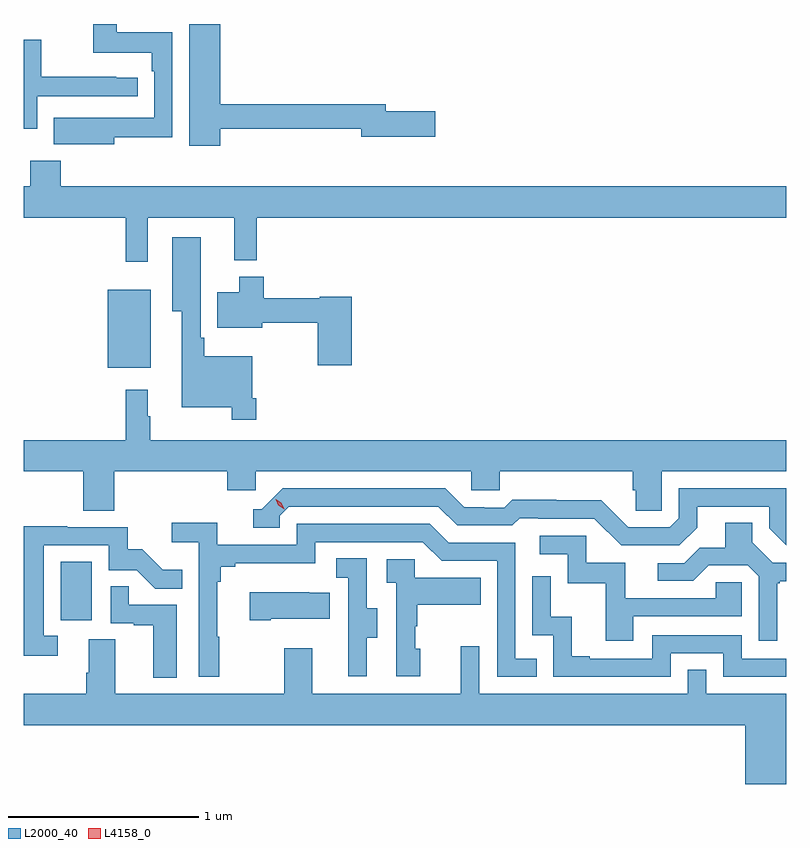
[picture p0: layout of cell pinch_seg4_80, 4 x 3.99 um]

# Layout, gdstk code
import gdstk
lib = gdstk.Library(unit=1e-6, precision=1e-09)
def R(c, l, rs):  # rectangles x0, y0, x1, y1
    for r in rs: c.add(gdstk.rectangle(r[:2], r[2:], *l))
def P(c, l, *ps):  # polygons
    for p in ps: c.add(gdstk.Polygon(p, *l))
L2000_40 = (2000, 40)
L4158_0 = (4158, 0)

pinch_seg4_80 = lib.new_cell('pinch_seg4_80')
R(pinch_seg4_80, L2000_40, [(1077.074,814.686,1077.238,814.993), (1077.32,816.011,1077.547,816.421)])
P(pinch_seg4_80, L2000_40, [(1077.91,817.266),(1078.652,817.266),(1078.652,817.223),(1079.041,817.223),(1079.041,817.358),(1078.78,817.358),(1078.78,817.394),(1077.91,817.394),(1077.91,817.816),(1077.749,817.816),(1077.749,817.176),(1077.91,817.176)],
  [(1077.355,817.222),(1077.66,817.222),(1077.66,817.774),(1077.367,817.774),(1077.367,817.816),(1077.246,817.816),(1077.246,817.664),(1077.551,817.664),(1077.551,817.568),(1077.564,817.568),(1077.564,817.323),(1077.251,817.323),(1077.251,817.324),(1077.037,817.324),(1077.037,817.184),(1077.355,817.184)],
  [(1076.952,817.437),(1077.478,817.437),(1077.478,817.533),(1077.365,817.533),(1077.365,817.538),(1076.972,817.538),(1076.972,817.734),(1076.881,817.734),(1076.881,817.265),(1076.952,817.265)],
  [(1077.074,817.099),(1076.914,817.099),(1076.914,816.964),(1076.881,816.964),(1076.881,816.8),(1077.415,816.8),(1077.415,816.567),(1077.531,816.567),(1077.531,816.8),(1077.986,816.8),(1077.986,816.575),(1078.103,816.575),(1078.103,816.8),(1080.881,816.8),(1080.881,816.964),(1077.074,816.964)],
  [(1078.1,815.851),(1078.08,815.851),(1078.08,816.073),(1077.827,816.073),(1077.827,816.169),(1077.808,816.169),(1077.808,816.697),(1077.659,816.697),(1077.659,816.308),(1077.71,816.308),(1077.71,815.804),(1077.972,815.804),(1077.972,815.739),(1078.1,815.739)],
  [(1078.601,816.384),(1078.434,816.384),(1078.434,816.376),(1078.14,816.376),(1078.14,816.49),(1078.01,816.49),(1078.01,816.409),(1077.896,816.409),(1077.896,816.221),(1078.132,816.221),(1078.132,816.247),(1078.423,816.247),(1078.423,816.024),(1078.601,816.024)],
  [(1077.356,815.468),(1077.947,815.468),(1077.947,815.37),(1078.098,815.37),(1078.098,815.468),(1079.229,815.468),(1079.229,815.37),(1079.379,815.37),(1079.379,815.468),(1080.077,815.468),(1080.077,815.37),(1080.091,815.37),(1080.091,815.26),(1080.228,815.26),(1080.228,815.468),(1080.881,815.468),(1080.881,815.632),(1077.544,815.632),(1077.544,815.756),(1077.532,815.756),(1077.532,815.896),(1077.415,815.896),(1077.415,815.632),(1076.881,815.632),(1076.881,815.468),(1077.191,815.468),(1077.191,815.26),(1077.356,815.26)],
  [(1080.415,815.173),(1080.415,815.283),(1080.792,815.283),(1080.792,815.169),(1080.881,815.08),(1080.881,815.379),(1080.318,815.379),(1080.318,815.223),(1080.27,815.175),(1080.054,815.175),(1079.912,815.317),(1079.676,815.317),(1079.676,815.32),(1079.443,815.32),(1079.401,815.277),(1079.298,815.277),(1079.298,815.28),(1079.191,815.28),(1079.092,815.379),(1078.239,815.379),(1078.128,815.268),(1078.085,815.268),(1078.085,815.172),(1078.224,815.172),(1078.224,815.235),(1078.272,815.283),(1079.055,815.283),(1079.154,815.184),(1079.443,815.184),(1079.482,815.223),(1079.581,815.223),(1079.581,815.22),(1079.874,815.22),(1080.015,815.079),(1080.321,815.079)],
  [(1077.907,814.601),(1077.895,814.601),(1077.895,814.889),(1077.914,814.889),(1077.914,814.966),(1077.991,814.966),(1077.991,814.985),(1078.41,814.985),(1078.41,815.097),(1078.974,815.097),(1079.073,814.998),(1079.364,814.998),(1079.364,814.389),(1079.573,814.389),(1079.573,814.485),(1079.46,814.485),(1079.46,815.094),(1079.11,815.094),(1079.011,815.193),(1078.314,815.193),(1078.314,815.082),(1077.896,815.082),(1077.896,815.198),(1077.657,815.198),(1077.657,815.096),(1077.798,815.096),(1077.798,814.389),(1077.907,814.389)],
  [(1080.835,814.881),(1080.847,814.881),(1080.847,814.892),(1080.881,814.892),(1080.881,814.989),(1080.81,814.989),(1080.703,815.096),(1080.703,815.198),(1080.563,815.198),(1080.563,815.066),(1080.428,815.066),(1080.348,814.986),(1080.207,814.986),(1080.207,814.893),(1080.394,814.893),(1080.475,814.974),(1080.681,814.974),(1080.738,814.917),(1080.738,814.578),(1080.835,814.578)],
  [(1077.058,814.605),(1076.985,814.605),(1076.985,815.079),(1077.327,815.079),(1077.327,814.95),(1077.472,814.95),(1077.57,814.852),(1077.713,814.852),(1077.713,814.951),(1077.609,814.951),(1077.502,815.058),(1077.426,815.058),(1077.426,815.175),(1077.107,815.175),(1077.107,815.18),(1076.881,815.18),(1076.881,814.5),(1077.058,814.5)],
  [(1080.079,814.707),(1080.648,814.707),(1080.648,814.887),(1080.511,814.887),(1080.511,814.803),(1080.037,814.803),(1080.037,814.989),(1079.832,814.989),(1079.832,815.13),(1079.589,815.13),(1079.589,815.034),(1079.736,815.034),(1079.736,814.881),(1079.935,814.881),(1079.935,814.578),(1080.079,814.578)],
  [(1078.681,814.594),(1078.735,814.594),(1078.735,814.749),(1078.68,814.749),(1078.68,815.012),(1078.521,815.012),(1078.521,814.909),(1078.584,814.909),(1078.584,814.605),(1078.583,814.605),(1078.583,814.392),(1078.681,814.392)],
  [(1078.96,814.536),(1078.935,814.536),(1078.935,814.655),(1078.945,814.655),(1078.945,814.769),(1079.279,814.769),(1079.279,814.909),(1078.932,814.909),(1078.932,815.007),(1078.785,815.007),(1078.785,814.883),(1078.836,814.883),(1078.836,814.392),(1078.96,814.392)],
  [(1080.276,814.512),(1080.552,814.512),(1080.552,814.389),(1080.881,814.389),(1080.881,814.485),(1080.648,814.485),(1080.648,814.608),(1080.18,814.608),(1080.18,814.485),(1079.851,814.485),(1079.851,814.498),(1079.756,814.498),(1079.756,814.706),(1079.646,814.706),(1079.646,814.918),(1079.55,814.918),(1079.55,814.608),(1079.658,814.608),(1079.658,814.389),(1080.276,814.389)],
  [(1077.682,814.767),(1077.431,814.767),(1077.431,814.865),(1077.336,814.865),(1077.336,814.671),(1077.457,814.671),(1077.457,814.659),(1077.56,814.659),(1077.56,814.385),(1077.682,814.385)],
  [(1078.177,814.694),(1078.487,814.694),(1078.487,814.831),(1078.379,814.831),(1078.379,814.834),(1078.065,814.834),(1078.065,814.687),(1078.177,814.687)],
  [(1080.881,814.3),(1080.462,814.3),(1080.462,814.427),(1080.366,814.427),(1080.366,814.3),(1079.271,814.3),(1079.271,814.549),(1079.174,814.549),(1079.174,814.3),(1078.393,814.3),(1078.393,814.54),(1078.246,814.54),(1078.246,814.3),(1077.361,814.3),(1077.361,814.586),(1077.221,814.586),(1077.221,814.412),(1077.209,814.412),(1077.209,814.3),(1076.881,814.3),(1076.881,814.136),(1080.668,814.136),(1080.668,813.827),(1080.881,813.827)])
P(pinch_seg4_80, L4158_0, [(1078.248,815.269),(1078.217,815.289),(1078.202,815.321),(1078.202,815.322),(1078.202,815.322),(1078.232,815.302),(1078.248,815.269),(1078.248,815.269)])

lib.write_gds('pinch_seg4_80.gds')
